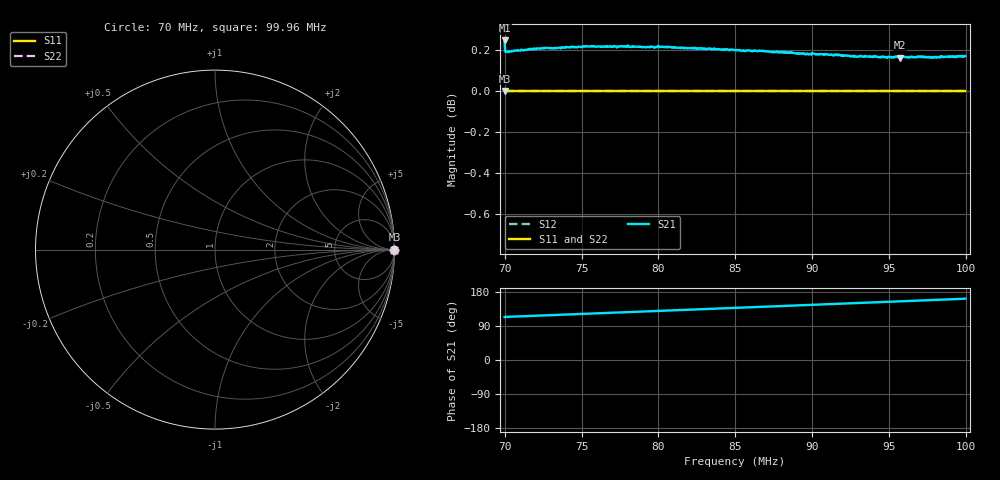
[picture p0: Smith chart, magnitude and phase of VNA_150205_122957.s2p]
! created by knguyen at Thu Feb 05 12:29:57 CST 2015
! generated using vna/J Version 3.1.2
# Hz S DB R 50
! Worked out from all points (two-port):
!   821 points, 70 MHz to 99.96 MHz, reference 50 ohm
!   highest |S21| = 0.25 dB at 70 MHz (marker M1); lowest = 0.2 dB at 95.72 MHz (marker M2)
!   |S21| within 3 dB of the highest: start of sweep to end of sweep
!   lowest |S11| = 0.0 dB at 70 MHz (marker M3)
!   |S11| at or under -10 dB: nowhere
!   |S22| runs from 0.0 to 0.0 dB; largest |S21 - S12| = 2
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7e7  0.00 0.0  0.25 113.1  0.00 0.0  0.00 0.0
7.021924e7  0.00 0.0  0.19 113.9  0.00 0.0  0.00 0.0
7.248472e7  0.00 0.0  0.21 117.6  0.00 0.0  0.00 0.0
7.38367e7  0.00 0.0  0.21 119.6  0.00 0.0  0.00 0.0
7.500598e7  0.00 0.0  0.21 121.6  0.00 0.0  0.00 0.0
7.723492e7  0.00 0.0  0.22 125.1  0.00 0.0  0.00 0.0
7.85869e7  0.00 0.0  0.22 127.4  0.00 0.0  0.00 0.0
8.001196e7  0.00 0.0  0.22 129.5  0.00 0.0  0.00 0.0
8.253322e7  0.00 0.0  0.21 133.5  0.00 0.0  0.00 0.0
8.348326e7  0.00 0.0  0.21 135.2  0.00 0.0  0.00 0.0
8.44333e7  0.00 0.0  0.20 136.6  0.00 0.0  0.00 0.0
8.49814e7  0.00 0.0  0.20 137.6  0.00 0.0  0.00 0.0
8.688148e7  0.00 0.0  0.19 140.7  0.00 0.0  0.00 0.0
8.731996e7  0.00 0.0  0.19 141.2  0.00 0.0  0.00 0.0
8.998738e7  0.00 0.0  0.18 145.6  0.00 0.0  0.00 0.0
9.163168e7  0.00 0.0  0.17 148.1  0.00 0.0  0.00 0.0
9.407986e7  0.00 0.0  0.17 152.3  0.00 0.0  0.00 0.0
9.499336e7  0.00 0.0  0.17 153.7  0.00 0.0  0.00 0.0
9.572416e7  0.00 0.0  0.16 154.8  0.00 0.0  0.00 0.0
9.692998e7  0.00 0.0  0.17 156.7  0.00 0.0  0.00 0.0
9.747808e7  0.00 0.0  0.17 157.8  0.00 0.0  0.00 0.0
9.99628e7  0.00 0.0  0.17 161.9  0.00 0.0  0.00 0.0
